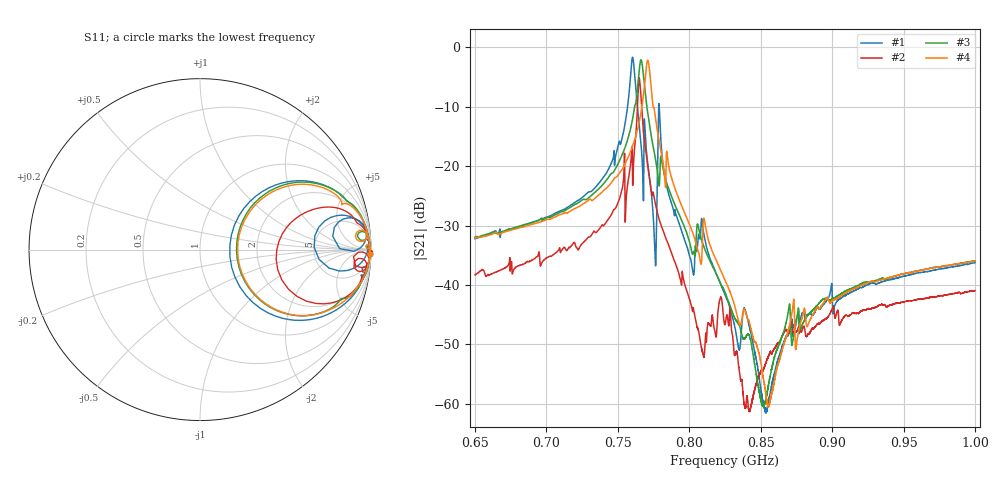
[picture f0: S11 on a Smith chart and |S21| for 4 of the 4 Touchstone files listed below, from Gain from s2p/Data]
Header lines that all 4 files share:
!Keysight Technologies,N5221A,MY56011522,A.10.47.06
!Correction: S11(Full 2 Port(1,2))
!S21(Full 2 Port(1,2))
!S12(Full 2 Port(1,2))
!S22(Full 2 Port(1,2))
!S2P File: Measurements: S11, S21, S12, S22:
# Hz S  dB  R 50
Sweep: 650 MHz to 1 GHz
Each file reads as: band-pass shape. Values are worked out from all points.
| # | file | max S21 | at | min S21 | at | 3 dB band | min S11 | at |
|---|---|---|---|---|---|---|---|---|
| 1 | R24C2_650MHz_1GHz_Pm5dB.s2p | -1.70 dB | 760.3 MHz | -61.5 dB | 853.8 MHz | 759 MHz-761.8 MHz | -15.2 dB | 760.3 MHz |
| 2 | R24C5_650MHz_1GHz_Pm5dB.s2p | -5.12 dB | 764.9 MHz | -61.3 dB | 842.3 MHz | 764.1 MHz-766.1 MHz | -7.0 dB | 765 MHz |
| 3 | R24C16_650MHz_1GHz_Pm5dB.s2p | -2.14 dB | 766.2 MHz | -60.4 dB | 851.9 MHz | 764.5 MHz-768.1 MHz | -13.4 dB | 766.2 MHz |
| 4 | R24C30_650MHz_1GHz_Pm5dB.s2p | -2.21 dB | 770.9 MHz | -60.5 dB | 855.5 MHz | 769.2 MHz-772.7 MHz | -13.2 dB | 770.9 MHz |
